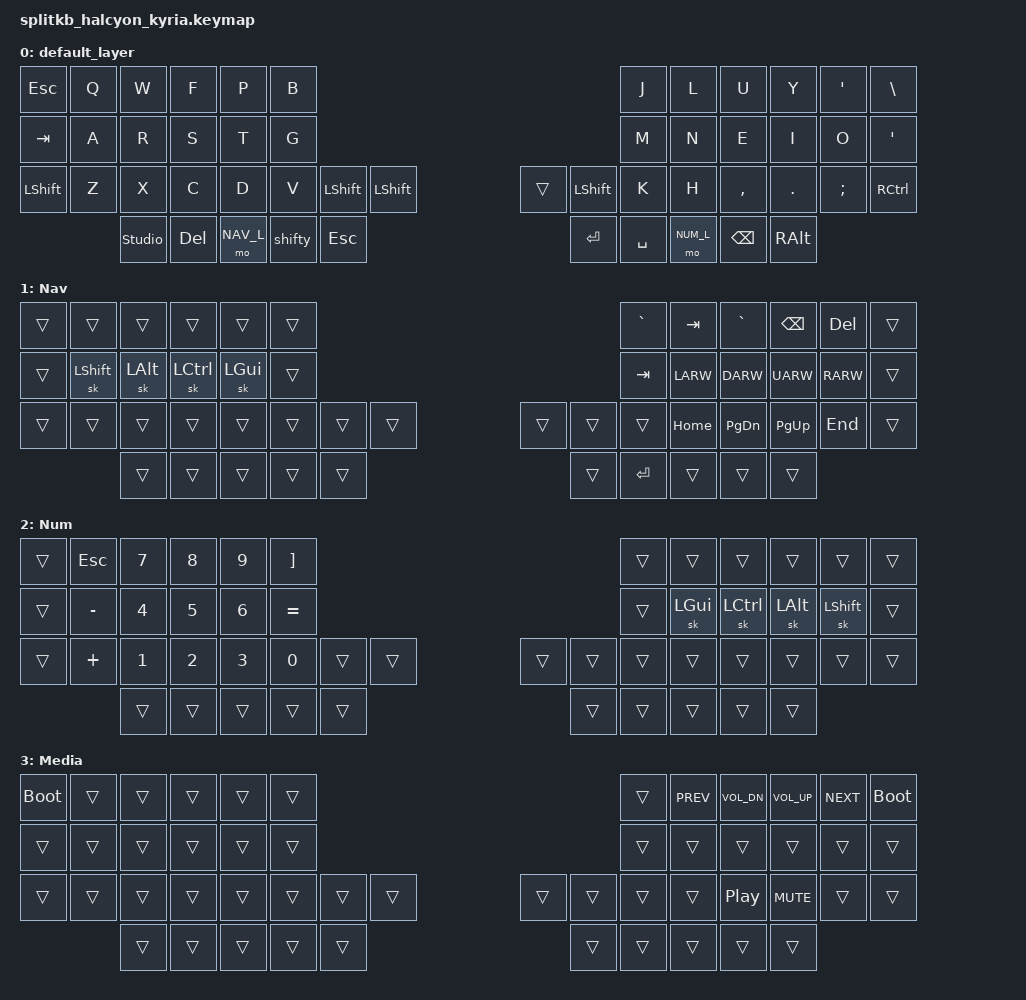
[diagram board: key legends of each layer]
/*
 * Copyright (c) 2023 The ZMK Contributors
 *
 * SPDX-License-Identifier: MIT
 */

#include <behaviors.dtsi>
#include <dt-bindings/zmk/keys.h>

#define NAV_L 1
#define NUM_L 2
#define MED_L 3

/* Uncomment this block if using RGB
&led_strip {
    chain-length = <6>;
    // chain-length = <31>; // Uncomment if using both per-key and underglow LEDs
    // chain-length = <25>; // Uncomment if using only per-key LEDs.
};
 */

/ {
    tap_dances {
       shifty: shift_caps_word {
		compatible = "zmk,behavior-tap-dance";
		display-name = "Shift/CapsWord";
		#binding-cells = <0>;
		tapping-term-ms = <150>;
		bindings = <&kp LSHFT>, <&caps_word>;
	};
    };

    cond_layers {
        compatible = "zmk,conditional-layers";
	tri {
	    if-layers = <NUM_L NAV_L>;
	    then-layer = <MED_L>;
        };
    };

    combos {
        compatible = "zmk,combos";

	lgui_combo {
	    timeout-ms = <50>;
            key-positions = <16 19>;
            bindings = <&kp LGUI>;
	    layers = <MED_L>;
	};

	l_curly_bracket {
	    timeout-ms = <50>;
            key-positions = <2 14>;
            bindings = <&kp LS(LBKT)>;
	    layers = <NUM_L>;
	};

	r_curly_bracket {
	    timeout-ms = <50>;
            key-positions = <4 16>;
            bindings = <&kp LS(RBKT)>;
	    layers = <NUM_L>;
	};
	lbracket {
	    timeout-ms = <50>;
            key-positions = <14 26>;
            bindings = <&kp LBKT>;
	    layers = <NUM_L>;
	};

	rbracket {
	    timeout-ms = <50>;
            key-positions = <16 28>;
            bindings = <&kp RBKT>;
	    layers = <NUM_L>;
	};

	ques_mark_combo {
	    timeout-ms = <50>;
            key-positions = <21 37>;
            bindings = <&kp LS(FSLH)>;
	};

	bslash_combo {
	    timeout-ms = <50>;
            key-positions = <10 22>;
            bindings = <&kp BSLH>;
	};

	fslash_combo {
	    timeout-ms = <50>;
            key-positions = <22 38>;
            bindings = <&kp FSLH>;
	};
    };


    keymap {
        compatible = "zmk,keymap";

        default_layer {
            // ---------------------------------------------------------------------------------------------------------------------------------
            // |  ESC  |  Q  |  W  |  E   |  R   |  T   |                                          |  Y   |  U    |  I    |  O   |   P   |   \  |
            // |  TAB  |  A  |  S  |  D   |  F   |  G   |                                          |  H   |  J    |  K    |  L   |   ;   |   '  |
            // | SHIFT |  Z  |  X  |  C   |  V   |  B   | L SHIFT | L SHIFT |  | LAYER 1 | L SHIFT |  N   |  M    |  ,    |  .   |   /   | CTRL |
            //                     | GUI  | DEL  | RET  |  SPACE  |   ESC   |  |   RET   |  SPACE  | TAB  | BSPC  | R-ALT |
            bindings = <
            &kp ESC   &kp Q &kp W &kp F &kp P &kp B                                                 &kp J &kp L  &kp U     &kp Y   &kp QUOT &kp BSLH
            &kp TAB   &kp A &kp R &kp S &kp T &kp G                                                 &kp M &kp N  &kp E     &kp I   &kp O    &kp SQT
            &kp LSHFT &kp Z &kp X &kp C &kp D &kp V &kp LSHFT &kp LSHFT            &trans &kp LSHFT &kp K &kp H  &kp COMMA &kp DOT &kp SEMI &kp RCTRL
                              &studio_unlock &kp DEL &mo NAV_L &shifty &kp ESC    &kp RET &kp SPACE &mo NUM_L &kp BSPC &kp RALT
            >;

            // sensor-bindings = <&inc_dec_kp C_VOL_UP C_VOL_DN &inc_dec_kp PG_UP PG_DN>;
        };

        nav_layer {
            label = "Nav";
            bindings = <
            &trans &trans    &trans   &trans    &trans   &trans                                   &kp GRAVE &kp TAB  &kp GRAVE &kp BKSP   &kp DEL  &trans
            &trans &sk LSHFT &sk LALT &sk LCTRL &sk LGUI &trans                                   &kp TAB   &kp LARW &kp DARW  &kp UARW   &kp RARW &trans
            &trans &trans    &trans   &trans    &trans   &trans &trans &trans      &trans &trans  &trans    &kp HOME &kp PG_DN &kp PG_UP  &kp END  &trans
                                       &trans   &trans   &trans &trans &trans      &trans &kp RET &trans    &trans   &trans
            >;
        };

        num_layer {
            label = "Num";
            bindings = <
            &trans &kp ESC   &kp N7 &kp N8 &kp N9 &kp RBKT                                  &trans &trans   &trans    &trans   &trans    &trans
            &trans &kp MINUS &kp N4 &kp N5 &kp N6 &kp EQUAL                                 &trans &sk LGUI &sk LCTRL &sk LALT &sk LSHFT &trans
            &trans &kp PLUS  &kp N1 &kp N2 &kp N3 &kp N0    &trans &trans     &trans &trans &trans &trans   &trans    &trans   &trans    &trans
                                    &trans &trans &trans    &trans &trans     &trans &trans &trans &trans &trans
            >;
        };

        media_layer {
            label = "Media";
            bindings = <
            &bootloader &trans &trans &trans &trans &trans                                  &trans &kp C_PREV &kp C_VOL_DN     &kp C_VOL_UP &kp C_NEXT &bootloader
            &trans      &trans &trans &trans &trans &trans                                  &trans &trans     &trans           &trans       &trans     &trans
            &trans      &trans &trans &trans &trans &trans &trans &trans     &trans &trans  &trans &trans     &kp C_PLAY_PAUSE &kp C_MUTE   &trans     &trans
                                      &trans &trans &trans &trans &trans     &trans  &trans &trans &trans     &trans
            >;
        };

	/*
	res_layer1 { status = "reserved"; };
	res_layer2 { status = "reserved"; };
	res_layer3 { status = "reserved"; };
	res_layer4 { status = "reserved"; };
	*/
#if 0
        function_layer {
            // ---------------------------------------------------------------------------------------------------------------------------------
            // |       |      |BT_CLR|BTSEL0|BTSEL1|BTSEL2|                                         |      |      |      |      |      |      |
            // |       |      |      |BTSEL3|BTSEL4|      |                                         |      |      |      |      |      |      |
            // |       |      |      |      |      |      |      |      |      |      |      |      |      |      |      |      |      |      |
            //                       |      |      |      |      |      |      |      |      |      |      |      |      |
            bindings = <
            &bootloader &trans &bt BT_CLR &bt BT_SEL 0 &bt BT_SEL 1 &bt BT_SEL 2              &trans &trans &trans &trans &trans &bootloader
            &trans &trans &trans     &bt BT_SEL 3 &bt BT_SEL 4 &trans                    &trans &trans &trans &trans &trans &trans
            &trans &trans &trans &trans &trans &trans &trans &trans        &trans &trans &trans &trans &trans &trans &trans &trans
                                 &trans &trans &trans &trans &trans        &trans &trans &trans &trans &trans
            >;

            // sensor-bindings = <&inc_dec_kp C_VOL_UP C_VOL_DN &inc_dec_kp PG_UP PG_DN>;
        };
#endif
    };
};
